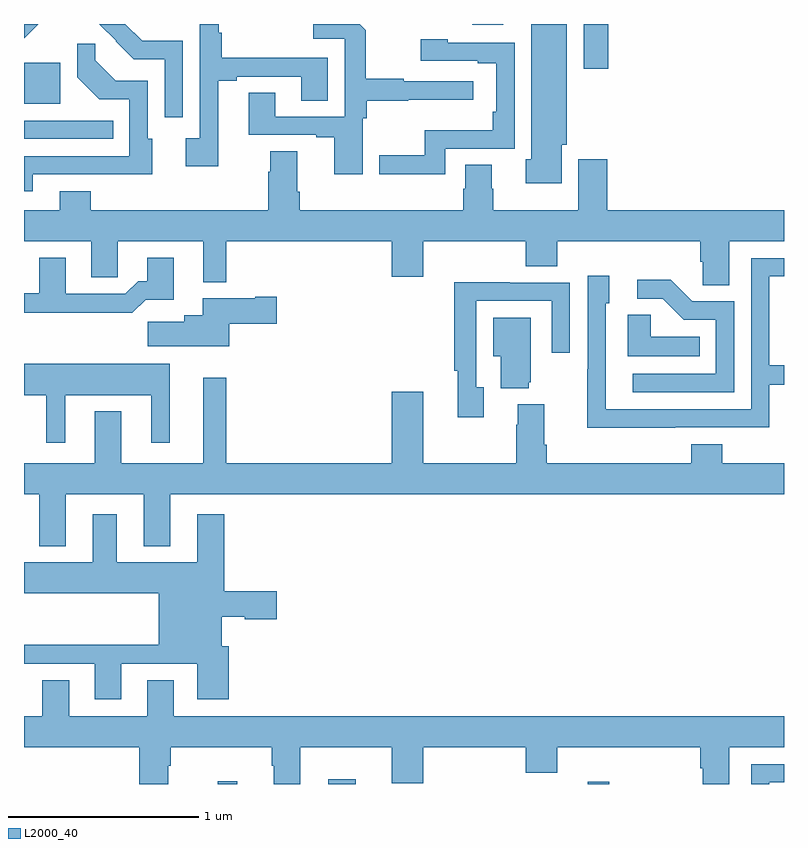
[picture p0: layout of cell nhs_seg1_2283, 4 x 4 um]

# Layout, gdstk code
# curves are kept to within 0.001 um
import gdstk
lib = gdstk.Library(unit=1e-6, precision=1e-09)
def R(c, l, rs):  # rectangles x0, y0, x1, y1
    for r in rs: c.add(gdstk.rectangle(r[:2], r[2:], *l))
def P(c, l, *ps):  # polygons
    for p in ps: c.add(gdstk.Polygon(p, *l))
L2000_40 = (2000, 40)

nhs_seg1_2283 = lib.new_cell('nhs_seg1_2283')
R(nhs_seg1_2283, L2000_40, [(236.02,558.199,236.123,558.214), (236.6,558.199,236.746,558.223), (237.966,558.199,238.081,558.211), (235,561.594,235.469,561.69), (235,561.779,235.192,561.994), (237.947,561.963,238.076,562.199), (237.359,562.194,237.523,562.199)])
P(nhs_seg1_2283, L2000_40, [(237.829,561.564),(237.856,561.564),(237.856,562.199),(237.671,562.199),(237.671,561.488),(237.641,561.488),(237.641,561.362),(237.829,561.362)],
  [(236.784,561.704),(236.804,561.704),(236.804,561.796),(237.023,561.796),(237.023,561.8),(237.364,561.8),(237.364,561.897),(236.999,561.897),(236.999,561.91),(236.799,561.91),(236.799,562.167),(236.767,562.199),(236.523,562.199),(236.523,562.122),(236.688,562.122),(236.688,561.711),(236.323,561.711),(236.323,561.836),(236.183,561.836),(236.183,561.615),(236.537,561.615),(236.537,561.603),(236.633,561.603),(236.633,561.408),(236.784,561.408)],
  [(235.836,562.11),(235.623,562.11),(235.534,562.199),(235.396,562.199),(235.485,562.11),(235.483,562.108),(235.577,562.014),(235.74,562.014),(235.74,561.708),(235.836,561.708)],
  [(235.076,562.199),(235,562.199),(235,562.123)],
  [(236.023,561.901),(236.119,561.901),(236.119,561.921),(236.459,561.921),(236.459,561.796),(236.599,561.796),(236.599,562.022),(236.042,562.022),(236.042,562.154),(236.024,562.154),(236.024,562.199),(235.926,562.199),(235.926,561.598),(235.851,561.598),(235.851,561.45),(236.023,561.45)],
  [(237.216,561.543),(237.582,561.543),(237.582,562.101),(237.231,562.101),(237.231,562.12),(237.087,562.12),(237.087,562.005),(237.389,562.005),(237.389,561.993),(237.486,561.993),(237.486,561.736),(237.466,561.736),(237.466,561.64),(237.108,561.64),(237.108,561.509),(236.871,561.509),(236.871,561.407),(237.216,561.407)],
  [(235.045,561.408),(235.675,561.407),(235.675,561.594),(235.65,561.594),(235.65,561.9),(235.484,561.9),(235.376,562.008),(235.376,562.096),(235.281,562.096),(235.281,561.92),(235.397,561.804),(235.554,561.804),(235.554,561.504),(235,561.504),(235,561.318),(235.045,561.318)],
  [(238.711,561.056),(239,561.056),(239,561.22),(238.07,561.22),(238.07,561.487),(237.917,561.487),(237.917,561.22),(237.471,561.22),(237.471,561.333),(237.463,561.333),(237.463,561.458),(237.323,561.458),(237.323,561.333),(237.311,561.333),(237.311,561.22),(236.45,561.22),(236.45,561.316),(236.437,561.316),(236.437,561.53),(236.297,561.53),(236.297,561.422),(236.285,561.422),(236.285,561.22),(235.351,561.22),(235.351,561.319),(235.187,561.319),(235.187,561.22),(235,561.22),(235,561.056),(235.355,561.056),(235.355,560.866),(235.494,560.866),(235.494,561.056),(235.943,561.056),(235.943,560.84),(236.065,560.84),(236.065,561.056),(236.936,561.056),(236.936,560.868),(237.1,560.868),(237.1,561.056),(237.641,561.056),(237.641,560.923),(237.806,560.923),(237.806,561.056),(238.559,561.056),(238.559,560.947),(238.572,560.947),(238.572,560.824),(238.711,560.824)],
  [(235.64,560.747),(235.789,560.747),(235.789,560.968),(235.649,560.968),(235.649,560.845),(235.6,560.845),(235.533,560.778),(235.219,560.778),(235.219,560.968),(235.079,560.968),(235.079,560.781),(235,560.781),(235,560.68),(235.315,560.68),(235.315,560.678),(235.571,560.678)],
  [(238.427,560.076),(238.923,560.076),(238.923,560.301),(239,560.301),(239,560.402),(238.923,560.402),(238.923,560.871),(239,560.871),(239,560.967),(238.827,560.967),(238.827,560.172),(238.062,560.172),(238.062,560.73),(238.081,560.73),(238.081,560.875),(237.966,560.875),(237.966,560.381),(237.964,560.381),(237.964,560.075),(238.427,560.075)],
  [(238.737,560.739),(238.518,560.739),(238.405,560.852),(238.227,560.852),(238.227,560.754),(238.361,560.754),(238.472,560.643),(238.641,560.643),(238.641,560.358),(238.203,560.358),(238.203,560.262),(238.737,560.262)],
  [(237.421,560.286),(237.381,560.286),(237.381,560.742),(237.777,560.742),(237.777,560.469),(237.873,560.469),(237.873,560.838),(237.557,560.838),(237.557,560.84),(237.265,560.84),(237.265,560.374),(237.284,560.374),(237.284,560.13),(237.421,560.13)],
  [(236.08,560.621),(236.329,560.621),(236.329,560.763),(236.216,560.763),(236.216,560.755),(235.94,560.755),(235.94,560.665),(235.844,560.665),(235.844,560.633),(235.65,560.633),(235.65,560.504),(236.08,560.504)],
  [(238.556,560.554),(238.299,560.554),(238.299,560.669),(238.178,560.669),(238.178,560.45),(238.556,560.45)],
  [(237.656,560.313),(237.667,560.313),(237.667,560.653),(237.47,560.653),(237.47,560.45),(237.509,560.45),(237.509,560.282),(237.656,560.282)],
  [(235.216,560.246),(235.67,560.246),(235.67,559.995),(235.768,559.995),(235.768,560.41),(235,560.41),(235,560.246),(235.118,560.246),(235.118,559.995),(235.216,559.995)],
  [(235.631,559.451),(235.771,559.451),(235.771,559.724),(239,559.724),(239,559.888),(238.676,559.888),(238.676,559.987),(238.511,559.987),(238.511,559.888),(237.752,559.888),(237.752,559.984),(237.739,559.984),(237.739,560.197),(237.599,560.197),(237.599,560.09),(237.592,560.09),(237.592,559.888),(237.1,559.888),(237.1,560.263),(236.936,560.263),(236.936,559.888),(236.065,559.888),(236.065,560.338),(235.943,560.338),(235.943,559.888),(235.513,559.888),(235.513,560.161),(235.373,560.161),(235.373,559.888),(235,559.888),(235,559.724),(235.079,559.724),(235.079,559.451),(235.219,559.451),(235.219,559.724),(235.631,559.724)],
  [(235.513,558.831),(235.913,558.831),(235.913,558.645),(236.078,558.645),(236.078,558.924),(236.041,558.924),(236.041,559.079),(236.161,559.079),(236.161,559.067),(236.329,559.067),(236.329,559.214),(236.054,559.214),(236.054,559.618),(235.913,559.618),(235.913,559.366),(235.489,559.366),(235.489,559.618),(235.361,559.618),(235.361,559.366),(235,559.366),(235,559.202),(235.709,559.202),(235.709,558.932),(235,558.932),(235,558.831),(235.373,558.831),(235.373,558.645),(235.513,558.645)],
  [(235.759,558.296),(235.772,558.296),(235.772,558.392),(236.303,558.392),(236.303,558.296),(236.315,558.296),(236.315,558.199),(236.455,558.199),(236.455,558.392),(236.936,558.392),(236.936,558.204),(237.1,558.204),(237.1,558.392),(237.641,558.392),(237.641,558.259),(237.806,558.259),(237.806,558.392),(238.559,558.392),(238.559,558.283),(238.572,558.283),(238.572,558.199),(238.711,558.199),(238.711,558.392),(239,558.392),(239,558.556),(235.789,558.556),(235.789,558.746),(235.649,558.746),(235.649,558.556),(235.237,558.556),(235.237,558.746),(235.097,558.746),(235.097,558.556),(235,558.556),(235,558.392),(235.607,558.392),(235.607,558.199),(235.759,558.199)],
  [(238.923,558.207),(239,558.207),(239,558.303),(238.827,558.303),(238.827,558.199),(238.923,558.199)])

lib.write_gds('nhs_seg1_2283.gds')
